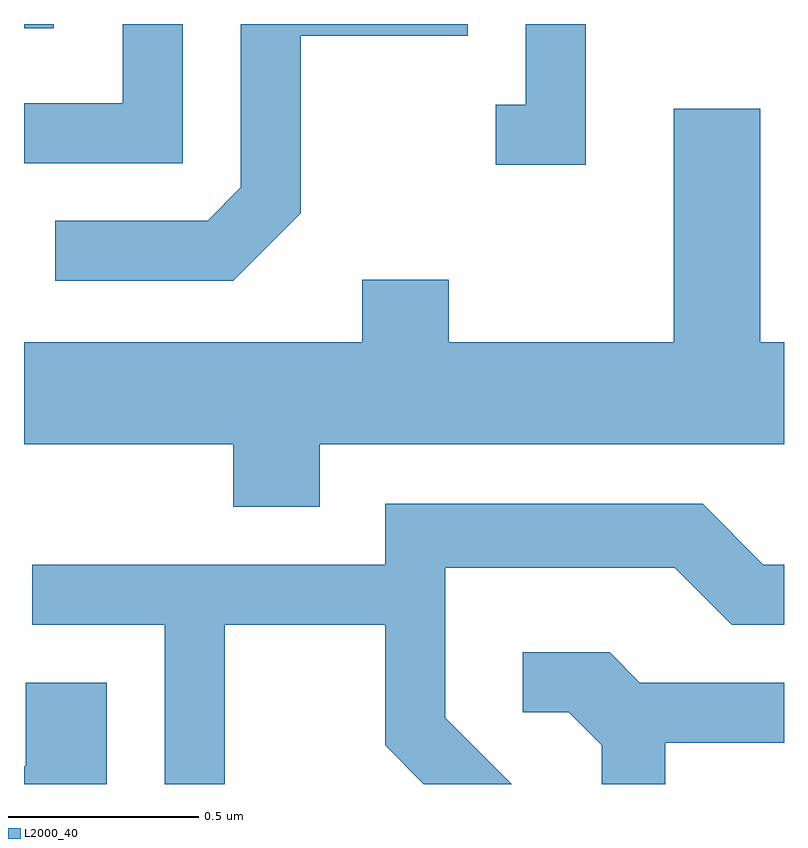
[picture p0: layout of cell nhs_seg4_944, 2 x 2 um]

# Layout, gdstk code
import gdstk
lib = gdstk.Library(unit=1e-6, precision=1e-09)
def R(c, l, rs):  # rectangles x0, y0, x1, y1
    for r in rs: c.add(gdstk.rectangle(r[:2], r[2:], *l))
def P(c, l, *ps):  # polygons
    for p in ps: c.add(gdstk.Polygon(p, *l))
L2000_40 = (2000, 40)

nhs_seg4_944 = lib.new_cell('nhs_seg4_944')
R(nhs_seg4_944, L2000_40, [(191.611,1377.971,191.689,1377.982)])
P(nhs_seg4_944, L2000_40, [(193.089,1377.982),(192.931,1377.982),(192.931,1377.769),(192.853,1377.769),(192.853,1377.611),(193.089,1377.611)],
  [(192.029,1377.982),(191.871,1377.982),(191.871,1377.774),(191.611,1377.774),(191.611,1377.616),(192.029,1377.616)],
  [(192.339,1377.484),(192.339,1377.951),(192.779,1377.951),(192.779,1377.982),(192.181,1377.982),(192.181,1377.552),(192.094,1377.464),(191.693,1377.464),(191.693,1377.306),(192.162,1377.306)],
  [(192.389,1376.876),(193.611,1376.876),(193.611,1377.144),(193.549,1377.144),(193.549,1377.759),(193.321,1377.759),(193.321,1377.144),(192.729,1377.144),(192.729,1377.309),(192.501,1377.309),(192.501,1377.144),(191.611,1377.144),(191.611,1376.876),(192.161,1376.876),(192.161,1376.711),(192.389,1376.711)],
  [(192.139,1376.401),(192.561,1376.401),(192.561,1376.084),(192.663,1375.982),(192.894,1375.982),(192.719,1376.157),(192.719,1376.551),(193.324,1376.551),(193.474,1376.401),(193.611,1376.401),(193.611,1376.559),(193.557,1376.559),(193.397,1376.719),(192.561,1376.719),(192.561,1376.559),(191.633,1376.559),(191.633,1376.401),(191.981,1376.401),(191.981,1375.982),(192.139,1375.982)],
  [(193.299,1376.091),(193.611,1376.091),(193.611,1376.249),(193.232,1376.249),(193.152,1376.329),(192.923,1376.329),(192.923,1376.171),(193.044,1376.171),(193.131,1376.084),(193.131,1375.982),(193.299,1375.982)],
  [(191.829,1376.249),(191.616,1376.249),(191.616,1376.029),(191.611,1376.029),(191.611,1375.982),(191.829,1375.982)])

lib.write_gds('nhs_seg4_944.gds')
